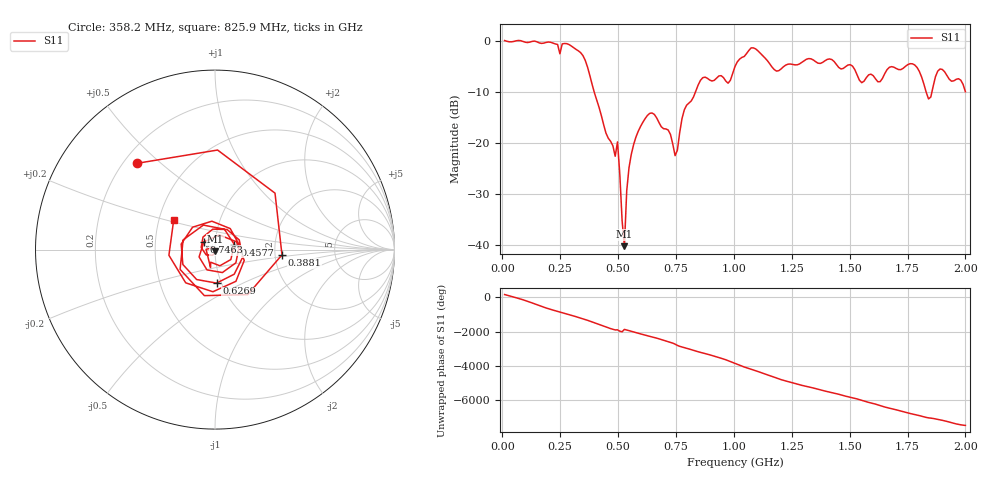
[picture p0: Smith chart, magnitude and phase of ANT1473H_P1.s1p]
!Created with skrf (http://scikit-rf.org).
# Hz S RI R 50.0
!freq ReS11 ImS11
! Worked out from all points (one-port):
!   201 points, 10 MHz to 2 GHz, reference 50 ohm
!   lowest |S11| = -40.2 dB at 527.4 MHz (marker M1), VSWR 1.02, Z = 50.2 - j0.961 ohm
!   |S11| at or under -10 dB: 397 MHz to 834.2 MHz (437.1 MHz wide, 71 % of centre); 1.831 GHz to 1.855 GHz (24.85 MHz wide, 1.35 % of centre)
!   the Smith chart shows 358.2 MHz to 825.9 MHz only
!   S11 on the Smith chart (normalised r, x): 358.2 MHz: 0.26, +0.42; 388.1 MHz: 2.18, -0.15; 457.8 MHz: 1.24, +0.07; 626.9 MHz: 0.95, -0.37; 746.3 MHz: 0.88, +0.08; 825.9 MHz: 0.60, +0.21
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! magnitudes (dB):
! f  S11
! 10 MHz  0.1
! 258.8 MHz  -0.6
! 358.2 MHz  -3.8
! 388.1 MHz  -8.5
! 457.8 MHz  -19.0
! 487.6 MHz  -22.6
! 497.6 MHz  -19.8
! 507.5 MHz  -26.1
! 527.4 MHz  -40.2
! 537.4 MHz  -29.4
! 557.2 MHz  -22.2
! 626.9 MHz  -14.6
! 716.5 MHz  -17.4
! 746.3 MHz  -22.5
! 756.2 MHz  -21.4
! 786.1 MHz  -13.5
! 825.9 MHz  -11.0
! 865.7 MHz  -7.2
! 1.005 GHz  -5.0
! 1.075 GHz  -1.3
! 1.184 GHz  -5.9
! 1.254 GHz  -4.6
! 1.502 GHz  -4.6
! 1.552 GHz  -8.2
! 1.751 GHz  -4.6
! 1.841 GHz  -11.3
! 1.891 GHz  -5.5
! 2 GHz  -9.9
